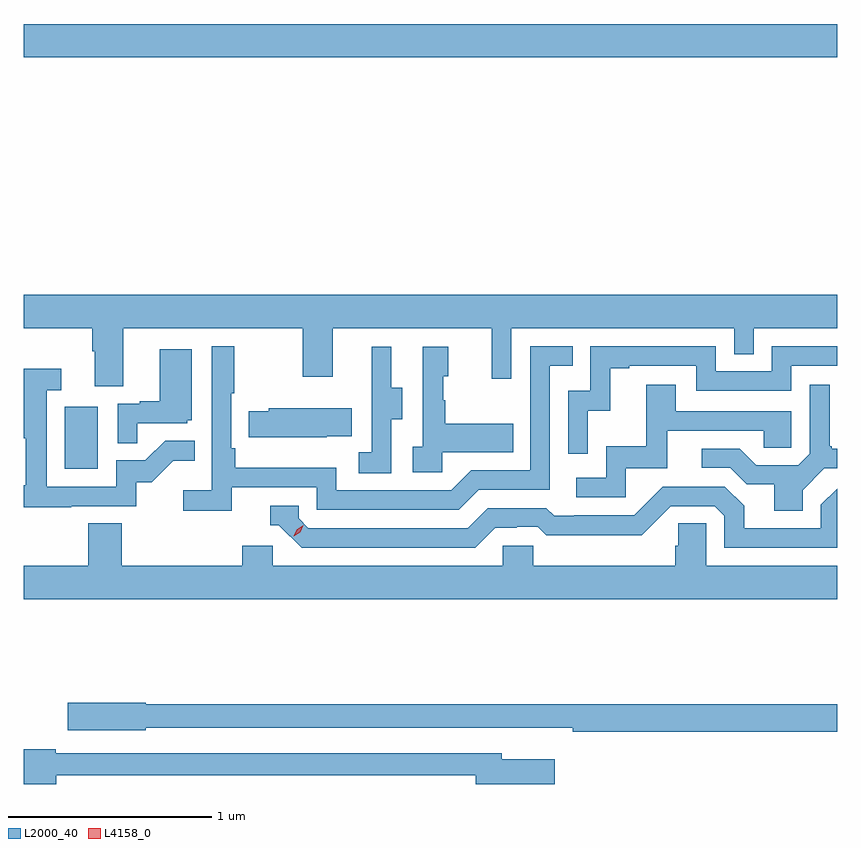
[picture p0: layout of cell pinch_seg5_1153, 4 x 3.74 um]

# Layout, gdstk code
import gdstk
lib = gdstk.Library(unit=1e-6, precision=1e-09)
def R(c, l, rs):  # rectangles x0, y0, x1, y1
    for r in rs: c.add(gdstk.rectangle(r[:2], r[2:], *l))
def P(c, l, *ps):  # polygons
    for p in ps: c.add(gdstk.Polygon(p, *l))
L2000_40 = (2000, 40)
L4158_0 = (4158, 0)

pinch_seg5_1153 = lib.new_cell('pinch_seg5_1153')
R(pinch_seg5_1153, L2000_40, [(864.842,842.748,865.006,843.055), (864.641,844.772,868.641,844.936)])
P(pinch_seg5_1153, L2000_40, [(864.641,843.44),(864.977,843.44),(864.977,843.328),(864.989,843.328),(864.989,843.154),(865.129,843.154),(865.129,843.44),(866.014,843.44),(866.014,843.201),(866.161,843.201),(866.161,843.44),(866.942,843.44),(866.942,843.192),(867.039,843.192),(867.039,843.44),(868.134,843.44),(868.134,843.313),(868.23,843.313),(868.23,843.44),(868.641,843.44),(868.641,843.604),(864.641,843.604)],
  [(865.664,842.658),(866.082,842.658),(866.082,842.547),(866.779,842.547),(866.878,842.646),(867.228,842.646),(867.228,843.255),(867.341,843.255),(867.341,843.351),(867.132,843.351),(867.132,842.742),(866.841,842.742),(866.742,842.643),(866.178,842.643),(866.178,842.755),(865.682,842.755),(865.682,842.851),(865.662,842.851),(865.662,843.121),(865.675,843.121),(865.675,843.352),(865.566,843.352),(865.566,842.644),(865.425,842.644),(865.425,842.542),(865.664,842.542)],
  [(867.414,843.035),(867.524,843.035),(867.524,843.243),(867.619,843.243),(867.619,843.255),(867.948,843.255),(867.948,843.132),(868.416,843.132),(868.416,843.255),(868.641,843.255),(868.641,843.351),(868.32,843.351),(868.32,843.228),(868.044,843.228),(868.044,843.351),(867.426,843.351),(867.426,843.132),(867.318,843.132),(867.318,842.823),(867.414,842.823)],
  [(866.7,842.831),(867.047,842.831),(867.047,842.971),(866.713,842.971),(866.713,843.086),(866.703,843.086),(866.703,843.204),(866.728,843.204),(866.728,843.349),(866.604,843.349),(866.604,842.858),(866.553,842.858),(866.553,842.733),(866.7,842.733)],
  [(866.448,842.992),(866.503,842.992),(866.503,843.147),(866.449,843.147),(866.449,843.349),(866.351,843.349),(866.351,843.135),(866.352,843.135),(866.352,842.831),(866.289,842.831),(866.289,842.728),(866.448,842.728)],
  [(865.199,842.973),(865.446,842.973),(865.446,842.988),(865.468,842.988),(865.468,843.337),(865.31,843.337),(865.31,843.082),(865.211,843.082),(865.211,843.069),(865.104,843.069),(865.104,842.875),(865.199,842.875)],
  [(864.875,842.565),(865.194,842.565),(865.194,842.682),(865.27,842.682),(865.377,842.789),(865.481,842.789),(865.481,842.888),(865.337,842.888),(865.239,842.79),(865.095,842.79),(865.095,842.661),(864.753,842.661),(864.753,843.135),(864.826,843.135),(864.826,843.241),(864.641,843.241),(864.641,842.898),(864.652,842.898),(864.652,842.668),(864.641,842.668),(864.641,842.56),(864.875,842.56)],
  [(867.6,842.751),(867.805,842.751),(867.805,842.937),(868.279,842.937),(868.279,842.853),(868.416,842.853),(868.416,843.033),(867.847,843.033),(867.847,843.163),(867.703,843.163),(867.703,842.86),(867.504,842.86),(867.504,842.706),(867.357,842.706),(867.357,842.61),(867.6,842.61)],
  [(868.471,842.644),(868.578,842.751),(868.641,842.751),(868.641,842.848),(868.615,842.848),(868.615,842.86),(868.603,842.86),(868.603,843.163),(868.506,843.163),(868.506,842.823),(868.449,842.766),(868.243,842.766),(868.162,842.847),(867.975,842.847),(867.975,842.754),(868.116,842.754),(868.196,842.674),(868.331,842.674),(868.331,842.542),(868.471,842.542)],
  [(866.13,842.909),(866.255,842.909),(866.255,843.046),(865.845,843.046),(865.845,843.033),(865.747,843.033),(865.747,842.903),(866.13,842.903)],
  [(866.959,842.46),(867.066,842.46),(867.066,842.463),(867.169,842.463),(867.211,842.421),(867.444,842.421),(867.444,842.423),(867.68,842.423),(867.822,842.565),(868.038,842.565),(868.086,842.517),(868.086,842.361),(868.641,842.361),(868.641,842.652),(868.56,842.571),(868.56,842.457),(868.183,842.457),(868.183,842.567),(868.089,842.661),(867.783,842.661),(867.642,842.52),(867.349,842.52),(867.349,842.517),(867.25,842.517),(867.211,842.556),(866.922,842.556),(866.823,842.457),(866.04,842.457),(865.992,842.505),(865.992,842.568),(865.853,842.568),(865.853,842.472),(865.896,842.472),(866.007,842.361),(866.86,842.361)],
  [(868.641,842.272),(867.996,842.272),(867.996,842.48),(867.859,842.48),(867.859,842.37),(867.845,842.37),(867.845,842.272),(867.147,842.272),(867.147,842.37),(866.997,842.37),(866.997,842.272),(865.866,842.272),(865.866,842.37),(865.715,842.37),(865.715,842.272),(865.124,842.272),(865.124,842.48),(864.959,842.48),(864.959,842.272),(864.641,842.272),(864.641,842.108),(868.641,842.108)],
  [(868.641,841.592),(865.242,841.592),(865.242,841.598),(864.858,841.598),(864.858,841.463),(865.242,841.463),(865.242,841.476),(867.088,841.476),(867.088,841.475),(867.34,841.475),(867.34,841.456),(868.641,841.456)],
  [(864.802,841.242),(866.864,841.242),(866.864,841.199),(867.253,841.199),(867.253,841.321),(866.992,841.321),(866.992,841.35),(864.798,841.35),(864.798,841.37),(864.641,841.37),(864.641,841.199),(864.802,841.199)])
P(pinch_seg5_1153, L4158_0, [(865.969,842.418),(865.969,842.419),(865.985,842.451),(866.016,842.471),(866.016,842.471),(866.016,842.471),(866,842.438),(865.969,842.418)])

lib.write_gds('pinch_seg5_1153.gds')
